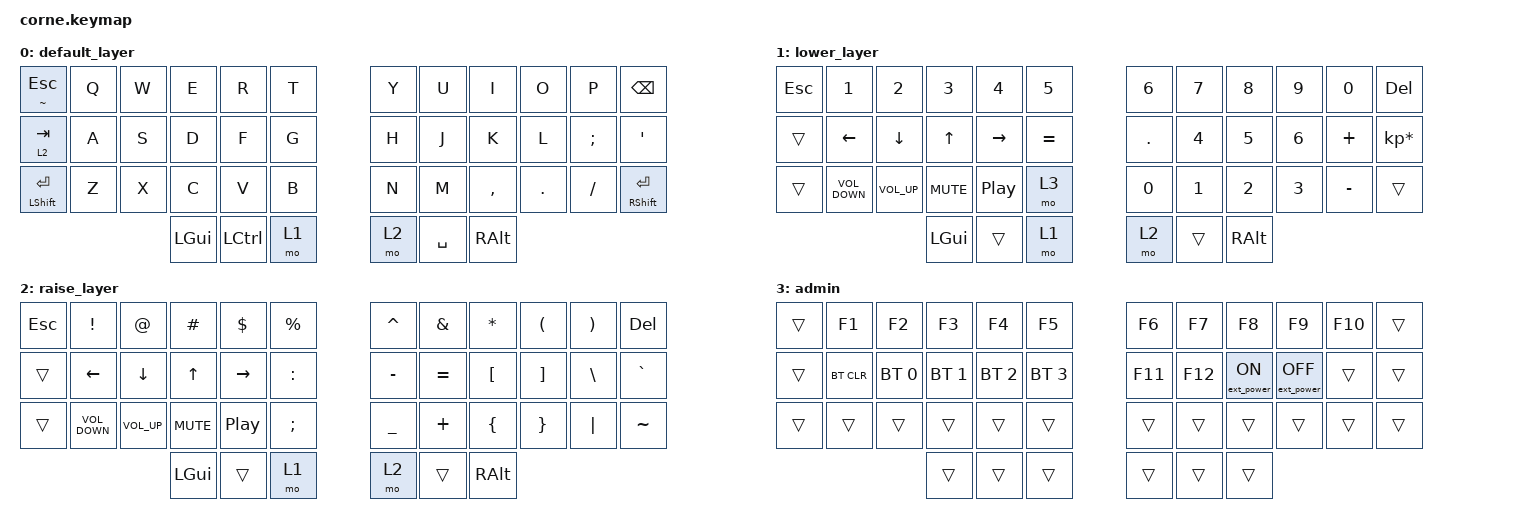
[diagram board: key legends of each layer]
/*
 * Copyright (c) 2020 The ZMK Contributors
 *
 * SPDX-License-Identifier: MIT
 */

#include <behaviors.dtsi>
#include <dt-bindings/zmk/bt.h>
#include <dt-bindings/zmk/ext_power.h>
#include <dt-bindings/zmk/keys.h>

/ {
    combos {
        compatible = "zmk,combos";

        admin {
            bindings = <&mo 3>;
            key-positions = <38 39>;
            layers = <0>;
        };

        admin1 {
            bindings = <&mo 3>;
            key-positions = <38 39>;
            layers = <2>;
        };
    };

    behaviors {
        new_behavior: new_behavior {
            compatible = "zmk,behavior-hold-tap";
            label = "NEW_BEHAVIOR";
            bindings = <&mo>, <&kp>;

            #binding-cells = <2>;
            tapping-term-ms = <0>;
            hold-trigger-key-positions = <12>;
        };
    };

    keymap {
        compatible = "zmk,keymap";

        default_layer {
            // -----------------------------------------------------------------------------------------
            // |  TAB |  Q  |  W  |  E  |  R  |  T  |   |  Y  |  U   |  I  |  O  |  P  | BSPC |
            // | CTRL |  A  |  S  |  D  |  F  |  G  |   |  H  |  J   |  K  |  L  |  ;  |  '   |
            // | SHFT |  Z  |  X  |  C  |  V  |  B  |   |  N  |  M   |  ,  |  .  |  /  | ESC  |
            //                    | GUI | LWR | SPC |   | ENT | RSE  | ALT |

            bindings = <
&mt TILDE ESCAPE  &kp Q  &kp W  &kp E     &kp R             &kp T    &kp Y  &kp U      &kp I      &kp O    &kp P     &kp BSPC
&lt 2 TAB         &kp A  &kp S  &kp D     &kp F             &kp G    &kp H  &kp J      &kp K      &kp L    &kp SEMI  &kp SQT
&mt LSHFT ENTER   &kp Z  &kp X  &kp C     &kp V             &kp B    &kp N  &kp M      &kp COMMA  &kp DOT  &kp FSLH  &mt RIGHT_SHIFT ENTER
                                &kp LGUI  &kp LEFT_CONTROL  &mo 1    &mo 2  &kp SPACE  &kp RALT
            >;
        };

        lower_layer {
            // -----------------------------------------------------------------------------------------
            // |  TAB |  1  |  2  |  3  |  4  |  5  |   |  6  |  7  |  8  |  9  |  0  | BSPC |
            // | BTCLR| BT1 | BT2 | BT3 | BT4 | BT5 |   | LFT | DWN |  UP | RGT |     |      |
            // | SHFT |     |     |     |     |     |   |     |     |     |     |     |      |
            //                    | GUI |     | SPC |   | ENT |     | ALT |

            bindings = <
&kp ESCAPE  &kp N1             &kp N2           &kp N3        &kp N4            &kp N5       &kp N6        &kp N7        &kp N8        &kp N9        &kp N0     &kp DELETE
&trans      &kp LEFT_ARROW     &kp DOWN         &kp UP_ARROW  &kp RIGHT         &kp EQUAL    &kp PERIOD    &kp NUMBER_4  &kp NUMBER_5  &kp NUMBER_6  &kp PLUS   &kp KP_MULTIPLY
&trans      &kp C_VOLUME_DOWN  &kp C_VOLUME_UP  &kp C_MUTE    &kp C_PLAY_PAUSE  &mo 3        &kp NUMBER_0  &kp NUMBER_1  &kp NUMBER_2  &kp NUMBER_3  &kp MINUS  &trans
                                                &kp LGUI      &trans            &mo 1        &mo 2         &trans        &kp RALT
            >;
        };

        raise_layer {
            // -----------------------------------------------------------------------------------------
            // |  TAB |  !  |  @  |  #  |  $  |  %  |   |  ^  |  &  |  *  |  (  |  )  | BSPC |
            // | CTRL |     |     |     |     |     |   |  -  |  =  |  [  |  ]  |  \  |  `   |
            // | SHFT |     |     |     |     |     |   |  _  |  +  |  {  |  }  | "|" |  ~   |
            //                    | GUI |     | SPC |   | ENT |     | ALT |

            bindings = <
&kp ESC  &kp EXCL           &kp AT           &kp HASH      &kp DLLR          &kp PRCNT    &kp CARET  &kp AMPS   &kp ASTRK  &kp LPAR  &kp RPAR  &kp DEL
&trans   &kp LEFT_ARROW     &kp DOWN_ARROW   &kp UP_ARROW  &kp RIGHT         &kp COLON    &kp MINUS  &kp EQUAL  &kp LBKT   &kp RBKT  &kp BSLH  &kp GRAVE
&trans   &kp C_VOLUME_DOWN  &kp C_VOLUME_UP  &kp C_MUTE    &kp C_PLAY_PAUSE  &kp SEMI     &kp UNDER  &kp PLUS   &kp LBRC   &kp RBRC  &kp PIPE  &kp TILDE
                                             &kp LGUI      &trans            &mo 1        &mo 2      &trans     &kp RALT
            >;
        };

        admin {
            bindings = <
&trans  &kp F1      &kp F2        &kp F3        &kp F4        &kp F5          &kp F6   &kp F7   &kp F8            &kp F9             &kp F10  &trans
&trans  &bt BT_CLR  &bt BT_SEL 0  &bt BT_SEL 1  &bt BT_SEL 2  &bt BT_SEL 3    &kp F11  &kp F12  &ext_power EP_ON  &ext_power EP_OFF  &trans   &trans
&trans  &trans      &trans        &trans        &trans        &trans          &trans   &trans   &trans            &trans             &trans   &trans
                                  &trans        &trans        &trans          &trans   &trans   &trans
            >;
        };
    };
};
